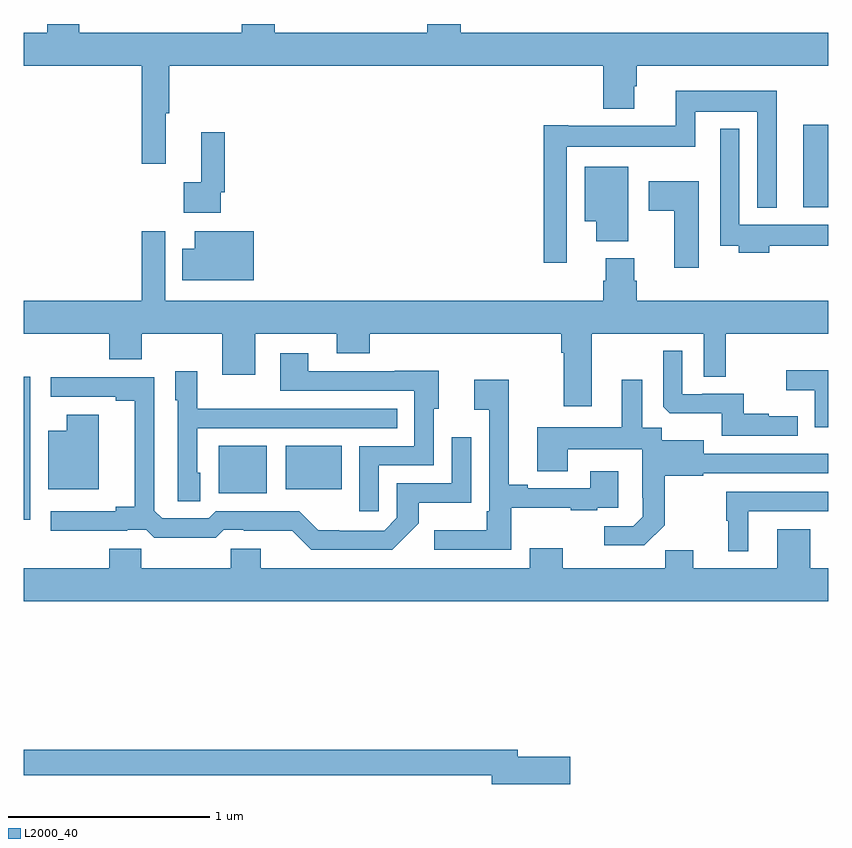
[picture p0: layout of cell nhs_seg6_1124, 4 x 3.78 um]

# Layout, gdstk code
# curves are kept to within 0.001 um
import gdstk
lib = gdstk.Library(unit=1e-6, precision=1e-09)
def R(c, l, rs):  # rectangles x0, y0, x1, y1
    for r in rs: c.add(gdstk.rectangle(r[:2], r[2:], *l))
def P(c, l, *ps):  # polygons
    for p in ps: c.add(gdstk.Polygon(p, *l))
L2000_40 = (2000, 40)

nhs_seg6_1124 = lib.new_cell('nhs_seg6_1124')
R(nhs_seg6_1124, L2000_40, [(179,989.034,179.031,989.744), (179.969,989.165,180.208,989.401), (180.302,989.186,180.58,989.401), (182.876,990.588,183,990.999)])
P(nhs_seg6_1124, L2000_40, [(179.705,991.056),(179.723,991.056),(179.723,991.292),(181.883,991.292),(181.883,991.079),(182.035,991.079),(182.035,991.191),(182.048,991.191),(182.048,991.292),(183,991.292),(183,991.456),(181.172,991.456),(181.172,991.5),(181.007,991.5),(181.007,991.456),(180.248,991.456),(180.248,991.5),(180.083,991.5),(180.083,991.456),(179.276,991.456),(179.276,991.5),(179.116,991.5),(179.116,991.456),(179,991.456),(179,991.292),(179.587,991.292),(179.587,990.804),(179.705,990.804)],
  [(181.701,990.89),(182.34,990.89),(182.34,991.064),(182.649,991.064),(182.649,990.587),(182.746,990.587),(182.746,991.168),(182.243,991.168),(182.243,990.994),(181.708,990.994),(181.708,990.997),(181.585,990.997),(181.585,990.312),(181.701,990.312)],
  [(182.708,990.396),(182.939,990.396),(182.939,990.398),(183,990.398),(183,990.502),(182.559,990.502),(182.559,990.979),(182.463,990.979),(182.463,990.396),(182.555,990.396),(182.555,990.362),(182.708,990.362)],
  [(179.979,990.664),(179.999,990.664),(179.999,990.961),(179.882,990.961),(179.882,990.713),(179.796,990.713),(179.796,990.56),(179.979,990.56)],
  [(182.005,990.79),(181.79,990.79),(181.79,990.518),(181.847,990.518),(181.847,990.419),(182.005,990.419)],
  [(182.356,990.718),(182.109,990.718),(182.109,990.571),(182.234,990.571),(182.234,990.288),(182.356,990.288)],
  [(180.142,990.469),(179.849,990.469),(179.849,990.382),(179.788,990.382),(179.788,990.224),(180.142,990.224)],
  [(181.825,989.96),(182.382,989.96),(182.382,989.746),(182.491,989.746),(182.491,989.96),(183,989.96),(183,990.124),(182.048,990.124),(182.048,990.222),(182.035,990.222),(182.035,990.334),(181.895,990.334),(181.895,990.222),(181.883,990.222),(181.883,990.124),(179.703,990.124),(179.703,990.469),(179.587,990.469),(179.587,990.124),(179,990.124),(179,989.96),(179.423,989.96),(179.423,989.832),(179.587,989.832),(179.587,989.96),(179.987,989.96),(179.987,989.754),(180.151,989.754),(180.151,989.96),(180.557,989.96),(180.557,989.861),(180.721,989.861),(180.721,989.96),(181.673,989.96),(181.673,989.864),(181.685,989.864),(181.685,989.598),(181.825,989.598)],
  [(182.849,989.548),(182.705,989.548),(182.705,989.56),(182.582,989.56),(182.582,989.661),(182.374,989.661),(182.374,989.658),(182.274,989.658),(182.274,989.875),(182.181,989.875),(182.181,989.595),(182.213,989.564),(182.472,989.564),(182.472,989.451),(182.849,989.451)],
  [(180.765,989.304),(181.038,989.304),(181.038,989.586),(181.063,989.586),(181.063,989.774),(180.845,989.774),(180.845,989.772),(180.415,989.772),(180.415,989.863),(180.275,989.863),(180.275,989.676),(180.942,989.676),(180.942,989.4),(180.669,989.4),(180.669,989.076),(180.765,989.076)],
  [(183,989.777),(182.793,989.777),(182.793,989.678),(182.934,989.678),(182.934,989.493),(183,989.493)],
  [(179.878,989.268),(179.862,989.268),(179.862,989.49),(180.857,989.49),(180.857,989.586),(180.179,989.586),(180.179,989.587),(179.862,989.587),(179.862,989.773),(179.753,989.773),(179.753,989.628),(179.766,989.628),(179.766,989.125),(179.878,989.125)],
  [(180.963,989.015),(180.963,989.117),(181.224,989.117),(181.224,989.443),(181.128,989.443),(181.128,989.214),(180.855,989.214),(180.855,989.043),(180.792,988.98),(180.568,988.98),(180.568,988.982),(180.464,988.982),(180.369,989.076),(179.955,989.076),(179.919,989.04),(179.688,989.04),(179.649,989.079),(179.649,989.742),(179.133,989.742),(179.133,989.646),(179.456,989.646),(179.456,989.626),(179.552,989.626),(179.552,989.099),(179.456,989.099),(179.456,989.076),(179.133,989.076),(179.133,988.979),(179.513,988.979),(179.513,988.983),(179.607,988.983),(179.647,988.944),(179.955,988.944),(179.994,988.983),(180.094,988.983),(180.094,988.979),(180.335,988.979),(180.429,988.884),(180.832,988.884)],
  [(181.423,989.093),(181.721,989.093),(181.721,989.082),(181.853,989.082),(181.853,989.094),(181.957,989.094),(181.957,989.275),(181.817,989.275),(181.817,989.19),(181.507,989.19),(181.507,989.209),(181.411,989.209),(181.411,989.731),(181.239,989.731),(181.239,989.582),(181.314,989.582),(181.314,989.077),(181.302,989.077),(181.302,988.981),(181.041,988.981),(181.041,988.884),(181.423,988.884)],
  [(182.187,989.007),(182.187,989.253),(182.379,989.253),(182.379,989.265),(183,989.265),(183,989.362),(182.383,989.361),(182.383,989.428),(182.172,989.428),(182.172,989.492),(182.077,989.492),(182.077,989.731),(181.973,989.731),(181.973,989.494),(181.553,989.494),(181.553,989.275),(181.705,989.275),(181.705,989.384),(182.076,989.384),(182.076,989.143),(182.078,989.143),(182.078,989.048),(182.031,989.001),(181.887,989.001),(181.887,988.907),(182.087,988.907)],
  [(179.371,989.557),(179.213,989.557),(179.213,989.476),(179.12,989.476),(179.12,989.186),(179.371,989.186)],
  [(182.602,989.076),(183,989.076),(183,989.172),(182.493,989.172),(182.493,989.028),(182.504,989.028),(182.504,988.877),(182.602,988.877)],
  [(183,988.792),(182.911,988.792),(182.911,988.987),(182.747,988.987),(182.747,988.792),(182.329,988.792),(182.329,988.883),(182.191,988.883),(182.191,988.792),(181.681,988.792),(181.681,988.891),(181.517,988.891),(181.517,988.792),(180.178,988.792),(180.178,988.89),(180.028,988.89),(180.028,988.792),(179.583,988.792),(179.583,988.89),(179.423,988.89),(179.423,988.792),(179,988.792),(179,988.628),(183,988.628)],
  [(181.717,987.854),(181.456,987.854),(181.456,987.89),(179,987.89),(179,987.762),(181.328,987.762),(181.328,987.719),(181.717,987.719)])

lib.write_gds('nhs_seg6_1124.gds')
